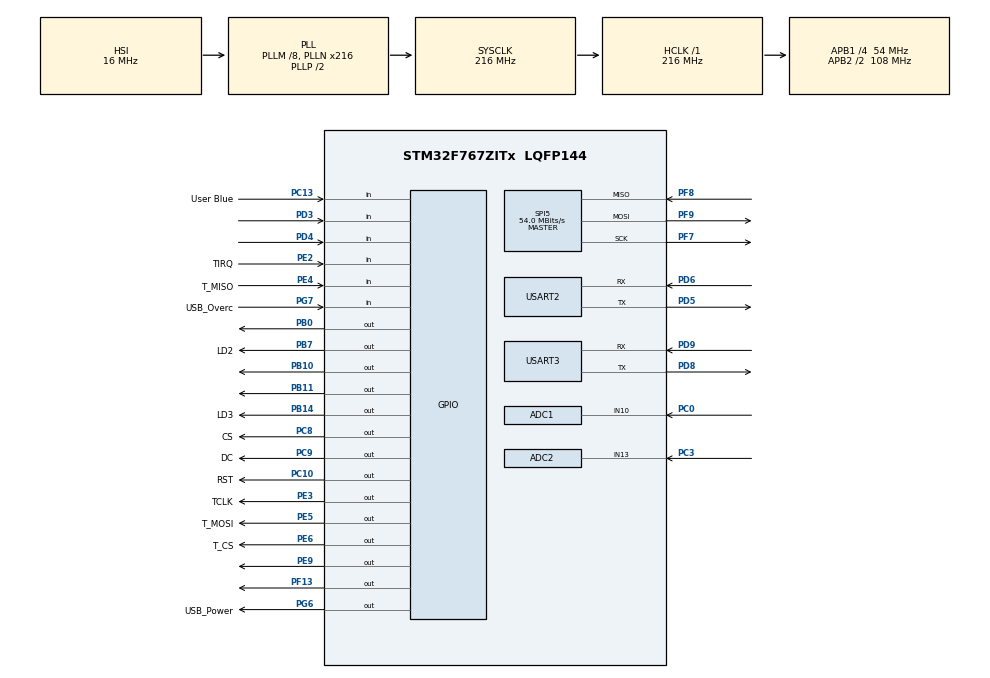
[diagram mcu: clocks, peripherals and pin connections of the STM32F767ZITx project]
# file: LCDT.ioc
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ADC1.Channel-0\#ChannelRegularConversion=ADC_CHANNEL_10
ADC1.ContinuousConvMode=ENABLE
ADC1.EOCSelection=ADC_EOC_SEQ_CONV
ADC1.NbrOfConversion=1
ADC1.NbrOfConversionFlag=1
ADC1.Rank-0\#ChannelRegularConversion=1
ADC1.SamplingTime-0\#ChannelRegularConversion=ADC_SAMPLETIME_3CYCLES
ADC1.master=1
ADC2.Channel-0\#ChannelRegularConversion=ADC_CHANNEL_13
ADC2.ContinuousConvMode=ENABLE
ADC2.EOCSelection=ADC_EOC_SEQ_CONV
ADC2.NbrOfConversionFlag=1
ADC2.Rank-0\#ChannelRegularConversion=1
ADC2.SamplingTime-0\#ChannelRegularConversion=ADC_SAMPLETIME_3CYCLES
CORTEX_M7.ART_ACCELERATOR_ENABLE=1
CORTEX_M7.CPU_DCache=Enabled
CORTEX_M7.CPU_ICache=Enabled
CORTEX_M7.MPU_Control=__NULL
CORTEX_M7.PREFETCH_ENABLE=1
Dma.ADC1.0.Direction=DMA_PERIPH_TO_MEMORY
Dma.ADC1.0.FIFOMode=DMA_FIFOMODE_DISABLE
Dma.ADC1.0.Instance=DMA2_Stream0
Dma.ADC1.0.MemDataAlignment=DMA_MDATAALIGN_WORD
Dma.ADC1.0.MemInc=DMA_MINC_ENABLE
Dma.ADC1.0.Mode=DMA_NORMAL
Dma.ADC1.0.PeriphDataAlignment=DMA_PDATAALIGN_WORD
Dma.ADC1.0.PeriphInc=DMA_PINC_DISABLE
Dma.ADC1.0.Priority=DMA_PRIORITY_LOW
Dma.Request0=ADC1
Mcu.Family=STM32F7
Mcu.Name=STM32F767ZITx
Mcu.Package=LQFP144
NVIC.DMA2_Stream0_IRQn=true\:0\:0\:false\:false\:true\:false\:true\:true
NVIC.PriorityGroup=NVIC_PRIORITYGROUP_0
PA13.Mode=Serial_Wire
PA13.Signal=SYS_JTMS-SWDIO
PA14.Mode=Serial_Wire
PA14.Signal=SYS_JTCK-SWCLK
PB0.Signal=GPIO_Output
PB10.GPIO_PuPd=GPIO_PULLDOWN
PB10.GPIO_Speed=GPIO_SPEED_FREQ_VERY_HIGH
PB10.PinState=GPIO_PIN_SET
PB10.Signal=GPIO_Output
PB11.GPIO_PuPd=GPIO_PULLDOWN
PB11.GPIO_Speed=GPIO_SPEED_FREQ_VERY_HIGH
PB11.PinState=GPIO_PIN_SET
PB11.Signal=GPIO_Output
PB14.GPIO_Label=LD3
PB14.Signal=GPIO_Output
PB7.GPIO_Label=LD2
PB7.Signal=GPIO_Output
PB8.Signal=I2C1_SCL
PB9.Signal=I2C1_SDA
PC0.Signal=ADCx_IN10
PC10.GPIO_Label=RST
PC10.GPIO_Speed=GPIO_SPEED_FREQ_VERY_HIGH
PC10.Signal=GPIO_Output
PC13.GPIO_Label=User Blue
PC13.Signal=GPIO_Input
PC3.Signal=ADCx_IN13
PC8.GPIO_Label=CS
PC8.GPIO_Speed=GPIO_SPEED_FREQ_VERY_HIGH
PC8.Signal=GPIO_Output
PC9.GPIO_Label=DC
PC9.GPIO_Speed=GPIO_SPEED_FREQ_VERY_HIGH
PC9.Signal=GPIO_Output
PD3.Signal=GPIO_Input
PD4.Signal=GPIO_Input
PD5.Mode=Asynchronous
PD5.Signal=USART2_TX
PD6.Mode=Asynchronous
PD6.Signal=USART2_RX
PD8.Mode=Asynchronous
PD8.Signal=USART3_TX
PD9.Mode=Asynchronous
PD9.Signal=USART3_RX
PE2.GPIO_Label=TIRQ
PE2.Signal=GPIO_Input
PE3.GPIO_Label=TCLK
PE3.GPIO_Speed=GPIO_SPEED_FREQ_VERY_HIGH
PE3.Signal=GPIO_Output
PE4.GPIO_Label=T_MISO
PE4.Signal=GPIO_Input
PE5.GPIO_Label=T_MOSI
PE5.GPIO_Speed=GPIO_SPEED_FREQ_VERY_HIGH
PE5.Signal=GPIO_Output
PE6.GPIO_Label=T_CS
PE6.GPIO_Speed=GPIO_SPEED_FREQ_VERY_HIGH
PE6.Signal=GPIO_Output
PE9.Signal=GPIO_Output
PF13.Signal=GPIO_Output
PF7.Mode=Full_Duplex_Master
PF7.Signal=SPI5_SCK
PF8.Mode=Full_Duplex_Master
PF8.Signal=SPI5_MISO
PF9.Mode=Full_Duplex_Master
PF9.Signal=SPI5_MOSI
PG6.GPIO_Label=USB_Power
PG6.Signal=GPIO_Output
PG7.GPIO_Label=USB_Overc
PG7.Signal=GPIO_Input
ProjectManager.HeapSize=0x200
ProjectManager.StackSize=0x400
ProjectManager.TargetToolchain=STM32CubeIDE
RCC.AHBFreq_Value=216000000
RCC.APB1CLKDivider=RCC_HCLK_DIV4
RCC.APB1Freq_Value=54000000
RCC.APB1TimFreq_Value=108000000
RCC.APB2CLKDivider=RCC_HCLK_DIV2
RCC.APB2Freq_Value=108000000
RCC.APB2TimFreq_Value=216000000
RCC.CortexFreq_Value=216000000
RCC.HCLKFreq_Value=216000000
RCC.HSE_VALUE=25000000
RCC.HSI_VALUE=16000000
RCC.LSE_VALUE=32768
RCC.PLLM=8
RCC.PLLN=216
RCC.PLLQ=9
RCC.SYSCLKFreq_VALUE=216000000
RCC.SYSCLKSource=RCC_SYSCLKSOURCE_PLLCLK
RCC.USBFreq_Value=48000000
RCC.VCOOutputFreq_Value=432000000
SH.ADCx_IN10.0=ADC1_IN10,IN10
SH.ADCx_IN13.0=ADC2_IN13,IN13
SPI5.CalculateBaudRate=54.0 MBits/s
SPI5.DataSize=SPI_DATASIZE_8BIT
SPI5.Direction=SPI_DIRECTION_2LINES
SPI5.Mode=SPI_MODE_MASTER
SPI5.NSSPMode=SPI_NSS_PULSE_DISABLE
SPI5.VirtualType=VM_MASTER
TIM1.ClockDivision=TIM_CLOCKDIVISION_DIV2
TIM1.Period=0
TIM1.Prescaler=10000
USART2.VirtualMode-Asynchronous=VM_ASYNC
USART3.VirtualMode-Asynchronous=VM_ASYNC
VP_RNG_VS_RNG.Mode=RNG_Activate
VP_TIM1_VS_ClockSourceINT.Mode=Internal
board=custom

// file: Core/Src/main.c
/* USER CODE BEGIN Header */
/**
  ******************************************************************************
  * @file           : main.c
  * @brief          : Main program body
  ******************************************************************************
  * @attention
  *
  * Copyright (c) 2023 STMicroelectronics.
  * All rights reserved.
  *
  * This software is licensed under terms that can be found in the LICENSE file
  * in the root directory of this software component.
  * If no LICENSE file comes with this software, it is provided AS-IS.
  *
  ******************************************************************************
  */
/* USER CODE END Header */
#include "main.h"
#include "adc.h"
#include "dma.h"
#include "rng.h"
#include "spi.h"
#include "tim.h"
#include "usart.h"
#include "gpio.h"

/* USER CODE BEGIN Includes */

#include <stdbool.h>
#include "ILI9341_GFX.h"
#include "ILI9341_STM32_Driver.h"
#include "ILI9341_Touchscreen.h"
#include "string.h"
#include "stdio.h"
#include "picture.h"
/* USER CODE END Includes */

/* USER CODE BEGIN PV */

volatile adc_value = 0 ;
volatile adc_value_2 = 0 ;
char score_sender[20] = "";
bool game_running = false;
bool reset_game = false;
char str[100] ;
char str1[] = "\r\n";
char str2[] = "PD4 HAS BEEN PRESS\r\n";
char str3[] = "Game Running\r\n";
uint8_t player_1_score = 0 ;
uint8_t player_2_score = 0 ;
char str_player_1[] = "1";

//Paddle Size
uint8_t paddle_1_x1 = 60 ;
uint8_t paddle_1_x2 = 65 ;
uint8_t paddle_1_y1 = 78 ;
uint8_t paddle_1_y2 = 133;
uint8_t oldpaddle_1_x1, oldpaddle_1_x2, oldpaddle_1_y1, oldpaddle_1_y2;

//Paddle 2 Size
uint8_t paddle_2_x1 = 240;
uint8_t paddle_2_x2 = 245;
uint8_t paddle_2_y1 = 78 ;
uint8_t paddle_2_y2 = 133;
uint8_t oldpaddle_2_x1, oldpaddle_2_x2, oldpaddle_2_y1, oldpaddle_2_y2;

//ball location
uint8_t ball_x = 150;
uint8_t ball_y = 100;
uint8_t ballDirectionX = 1;
uint8_t ballDirectionY = 1;
uint8_t oldball_x, oldball_y;
//DEFIND SCREEN

uint32_t screen_hight = 250;
uint32_t screen_width = 240;

HAL_StatusTypeDef status;

/* USER CODE END PV */

void SystemClock_Config(void);
/* USER CODE BEGIN PFP */

uint16_t CRC16_2(uint8_t *,uint8_t);
/* USER CODE END PFP */

int main(void)
{

  /* Enable I-Cache---------------------------------------------------------*/
  SCB_EnableICache();

  /* Enable D-Cache---------------------------------------------------------*/
  SCB_EnableDCache();

  /* MCU Configuration--------------------------------------------------------*/

  /* Reset of all peripherals, Initializes the Flash interface and the Systick. */
  HAL_Init();

  /* Configure the system clock */
  SystemClock_Config();

  /* Initialize all configured peripherals */
  MX_GPIO_Init();
  MX_DMA_Init();
  MX_SPI5_Init();
  MX_TIM1_Init();
  MX_ADC1_Init();
  MX_RNG_Init();
  MX_USART3_UART_Init();
  MX_ADC2_Init();
  MX_USART2_UART_Init();
  /* USER CODE BEGIN 2 */
  ILI9341_Init();

  ILI9341_Set_Rotation(SCREEN_HORIZONTAL_2);

  ILI9341_Fill_Screen(WHITE);

  HAL_ADC_Start(&hadc1);
  HAL_ADC_Start(&hadc2);
  /* USER CODE END 2 */

  /* Infinite loop */
  while (1)
  {

    /* USER CODE BEGIN 3 */
	  if(HAL_GPIO_ReadPin(GPIOD, GPIO_PIN_4) == GPIO_PIN_RESET){

			reset_game = !reset_game;
			ILI9341_Fill_Screen(WHITE);

			paddle_1_x1 = 60 ;
			paddle_1_x2 = 65 ;
			paddle_1_y1 = 78 ;
			paddle_1_y2 = 133;

			paddle_2_x1 = 240;
			paddle_2_x2 = 245;
			paddle_2_y1 = 78 ;
			paddle_2_y2 = 133;

			ball_x = 150;
			ball_y = 100;

		      // Toggle game_running
		      game_running = !game_running;
		      // Wait for button release
		      while (HAL_GPIO_ReadPin(GPIOD, GPIO_PIN_3) == GPIO_PIN_RESET) {}
	  }
	   // Check if button is pressed
	    if (HAL_GPIO_ReadPin(GPIOD, GPIO_PIN_3) == GPIO_PIN_RESET) {
	      // Toggle game_running
	      game_running = !game_running;
	      // Wait for button release
	      while (HAL_GPIO_ReadPin(GPIOD, GPIO_PIN_3) == GPIO_PIN_RESET) {}
	    }

	    // If game is running, call game function

	    if (game_running) {
	      game();
	    }

	  }
  }

  /* USER CODE END 3 */

void SystemClock_Config(void)
{
  RCC_OscInitTypeDef RCC_OscInitStruct = {0};
  RCC_ClkInitTypeDef RCC_ClkInitStruct = {0};

  /** Configure the main internal regulator output voltage
  */
  __HAL_RCC_PWR_CLK_ENABLE();
  __HAL_PWR_VOLTAGESCALING_CONFIG(PWR_REGULATOR_VOLTAGE_SCALE1);

  /** Initializes the RCC Oscillators according to the specified parameters
  * in the RCC_OscInitTypeDef structure.
  */
  RCC_OscInitStruct.OscillatorType = RCC_OSCILLATORTYPE_HSI;
  RCC_OscInitStruct.HSIState = RCC_HSI_ON;
  RCC_OscInitStruct.HSICalibrationValue = RCC_HSICALIBRATION_DEFAULT;
  RCC_OscInitStruct.PLL.PLLState = RCC_PLL_ON;
  RCC_OscInitStruct.PLL.PLLSource = RCC_PLLSOURCE_HSI;
  RCC_OscInitStruct.PLL.PLLM = 8;
  RCC_OscInitStruct.PLL.PLLN = 216;
  RCC_OscInitStruct.PLL.PLLP = RCC_PLLP_DIV2;
  RCC_OscInitStruct.PLL.PLLQ = 9;
  RCC_OscInitStruct.PLL.PLLR = 2;
  if (HAL_RCC_OscConfig(&RCC_OscInitStruct) != HAL_OK)
  {
    Error_Handler();
  }

  /** Activate the Over-Drive mode
  */
  if (HAL_PWREx_EnableOverDrive() != HAL_OK)
  {
    Error_Handler();
  }

  /** Initializes the CPU, AHB and APB buses clocks
  */
  RCC_ClkInitStruct.ClockType = RCC_CLOCKTYPE_HCLK|RCC_CLOCKTYPE_SYSCLK
                              |RCC_CLOCKTYPE_PCLK1|RCC_CLOCKTYPE_PCLK2;
  RCC_ClkInitStruct.SYSCLKSource = RCC_SYSCLKSOURCE_PLLCLK;
  RCC_ClkInitStruct.AHBCLKDivider = RCC_SYSCLK_DIV1;
  RCC_ClkInitStruct.APB1CLKDivider = RCC_HCLK_DIV4;
  RCC_ClkInitStruct.APB2CLKDivider = RCC_HCLK_DIV2;

  if (HAL_RCC_ClockConfig(&RCC_ClkInitStruct, FLASH_LATENCY_7) != HAL_OK)
  {
    Error_Handler();
  }
}

/* USER CODE BEGIN 4 */

void game(){
	  //DEBUG TERMINAL
	  adc_value = HAL_ADC_GetValue(&hadc1);
	  adc_value_2 = HAL_ADC_GetValue(&hadc2);
//	  display(adc_value, adc_value_2);
//	  HAL_UART_Transmit(&huart3, (uint32_t*)&str, sizeof(str), 100);
//	  HAL_UART_Transmit(&huart3, (uint8_t*)str1, strlen(str1), 1000);
	  HAL_UART_Transmit(&huart3, (uint32_t*)str3, strlen(str3), 100);

		//check edge for paddle
		if(paddle_1_y1 <= 1){
			paddle_1_y1 = 1;
			paddle_1_y2 = 56;
		}else if (paddle_1_y2 >= 240){
			paddle_1_y1 = 185;
			paddle_1_y2 = 240;
		}if(paddle_2_y1 <= 1){
			paddle_2_y1 = 1;
			paddle_2_y2 = 56;
		}else if(paddle_2_y2 >= 240){
			paddle_2_y1 = 185;
			paddle_2_y2 = 240;
		}
	  	//Move Paddle
		if(adc_value >= 0 && adc_value <= 2000){
			paddle_1_y1 --;
			paddle_1_y2 --;
		}else if(adc_value >= 2800 && adc_value <= 2890){
			paddle_1_y1 ++;
			paddle_1_y2 ++;
		}if(adc_value_2 >= 100 && adc_value_2 <= 2000){
			paddle_2_y1 --;
			paddle_2_y2 --;
		}else if(adc_value_2 >= 2800 && adc_value_2 <= 2890){paddle_2_y1 ++;paddle_2_y2 ++;}

		ILI9341_Draw_Filled_Rectangle_Coord(paddle_1_x1, paddle_1_y1, paddle_1_x2, paddle_1_y2, BLACK);
		ILI9341_Draw_Filled_Rectangle_Coord(oldpaddle_1_x1, oldpaddle_1_y1, oldpaddle_1_x2, oldpaddle_1_y2, WHITE);
		ILI9341_Draw_Filled_Rectangle_Coord(paddle_1_x1, paddle_1_y1, paddle_1_x2, paddle_1_y2, BLACK);

		oldpaddle_1_x1 = paddle_1_x1;
		oldpaddle_1_y1 = paddle_1_y1;
		oldpaddle_1_x2 = paddle_1_x2;
		oldpaddle_1_y2 = paddle_1_y2;

		//DRAW
		ILI9341_Draw_Filled_Rectangle_Coord(paddle_2_x1, paddle_2_y1, paddle_2_x2, paddle_2_y2, BLACK);
		ILI9341_Draw_Filled_Rectangle_Coord(oldpaddle_2_x1, oldpaddle_2_y1, oldpaddle_2_x2, oldpaddle_2_y2, WHITE);
		ILI9341_Draw_Filled_Rectangle_Coord(paddle_2_x1, paddle_2_y1, paddle_2_x2, paddle_2_y2, BLACK);

		oldpaddle_2_x1 = paddle_2_x1;
		oldpaddle_2_y1 = paddle_2_y1;
		oldpaddle_2_x2 = paddle_2_x2;
		oldpaddle_2_y2 = paddle_2_y2;

	  //UPDATE THE BALL
	  move_ball();
}

//DISPLAY FUNCTION FOR DEBUG ON TERMINAL
void display(int val_1, int val_2){
	sprintf(str, "Player Score 1 : %d Player Score 2 : %d", player_1_score, player_2_score);
}

bool inPaddle(int x, int y, int rectX, int rectY, int rectWidth, int rectHeight) {
  bool  result = false;
  if ((x >= rectX && x <= rectWidth) &&
    (y >= rectY && y <= rectHeight)) {
    result = true;
  }
  return result;
}

void move_ball(){

	if(ball_x+2 == screen_hight || ball_x == 30){
		if(ball_x+2 == screen_hight){
			player_1_score += 1 ;
			HAL_GPIO_TogglePin(GPIOB, GPIO_PIN_11);

		}else if(ball_x == 30){
			player_2_score += 1;
			HAL_GPIO_TogglePin(GPIOB, GPIO_PIN_10);

		}
		//SEND BALL BACK TO SPAWN BALL AREA

		ball_x = 150;
		ball_y = 100;

		//MAKE IT MOVE DIFFERNT SIDE
		ballDirectionX = -ballDirectionX;
		ballDirectionY = -ballDirectionY;

	}

	if (ball_y > screen_width || ball_y < 0) {
	    ballDirectionY = -ballDirectionY;
	}

	if (inPaddle(ball_x, ball_y, paddle_1_x1, paddle_1_y1, paddle_1_x2, paddle_1_y2)||(inPaddle(ball_x, ball_y, paddle_2_x1, paddle_2_y1, paddle_2_x2, paddle_2_y2))) {
	    ballDirectionX = -ballDirectionX;

	}
	  ball_x += ballDirectionX;
	  ball_y += ballDirectionY;
	  ILI9341_Draw_Filled_Circle(ball_x, ball_y, 3, BLACK);
	  ILI9341_Draw_Filled_Circle(oldball_x, oldball_y, 3, WHITE);
	  ILI9341_Draw_Filled_Circle(ball_x, ball_y, 3, BLACK);

	  oldball_x = ball_x;
	  oldball_y = ball_y;

}

/* USER CODE END 4 */

void Error_Handler(void)
{
  __disable_irq();
  while (1)
  {
  }
}
